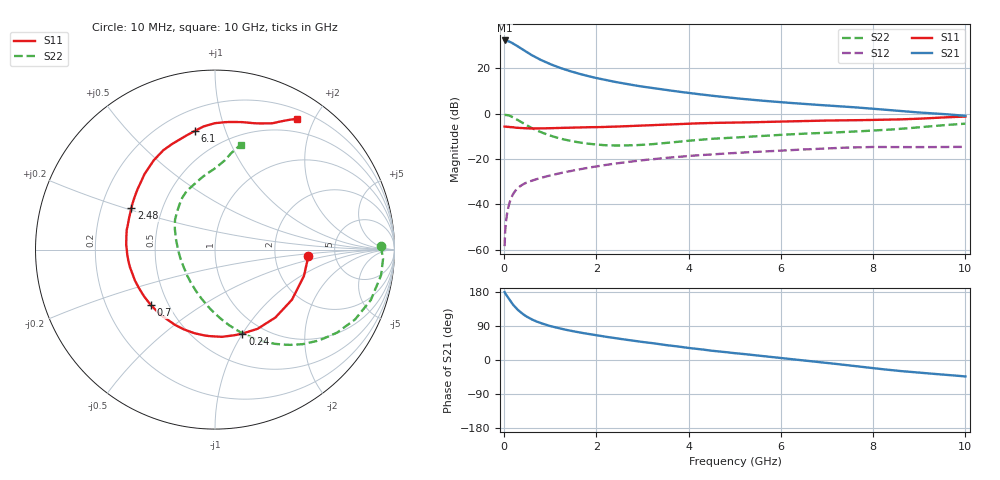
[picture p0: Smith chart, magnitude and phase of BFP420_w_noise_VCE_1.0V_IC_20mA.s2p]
! Infineon Technologies  Discrete & RF Semiconductors
! BFP420
! VCE =  1.0 V,  IC =  20 mA
! Common Emitter S-Parameters:  Jan 2016
# GHz  S  MA  R  50
!  f  S11  S21  S12  S22
! GHz  MAG  ANG  MAG  ANG  MAG  ANG  MAG  ANG
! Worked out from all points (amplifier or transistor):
!   233 points, 10 MHz to 10 GHz, reference 50 ohm
!   highest |S21| = 32.2 dB at 10 MHz (marker M1)
!   |S21| within 3 dB of that: start of sweep to 325 MHz
!   unconditionally stable (mu >= 1): start of sweep to 10.43 MHz; 1.716 GHz to end of sweep
!   at 200 MHz: K = 0.24, MSG = 33.1 dB, |S12| = -35.2 dB
!   at 1.74 GHz: K = 1.01, MAG = 20.1 dB, |S12| = -24.2 dB
!   at 10 GHz: K = 1.06, MAG = 5.3 dB, |S12| = -14.7 dB
!   lowest NFmin = 1.23 dB at 900 MHz
!   S11 on the Smith chart (normalised r, x): 10 MHz: 3.12, -0.29; 240 MHz: 0.81, -1.00; 700 MHz: 0.40, -0.32; 2.48 GHz: 0.33, +0.21; 6.1 GHz: 0.33, +0.79; 10 GHz: 0.31, +1.77
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0.01  0.5185 -3.8  40.97 179.4  0.0012 97.0  0.9238 1.2
0.02  0.5183 -7.0  40.24 176.5  0.0023 89.9  0.9378 -3.1
0.05  0.5168 -16.6  40.05 170.7  0.0051 85.5  0.9364 -8.7
0.1  0.5116 -33.1  39.08 161.5  0.0095 78.3  0.9127 -17.9
0.145  0.5053 -46.8  37.32 153.7  0.0132 73.1  0.8752 -25.6
0.2  0.5011 -61.8  34.93 145.0  0.0173 67.8  0.8227 -34.2
0.24  0.492 -71.9  32.89 139.5  0.0198 64.5  0.7801 -39.6
0.3  0.4875 -85.4  30.15 131.9  0.023 60.7  0.7183 -47.2
0.34  0.483 -93.3  28.34 127.7  0.0248 58.6  0.6781 -51.5
0.45  0.4771 -111.3  23.99 117.5  0.029 54.4  0.582 -61.8
0.6  0.4729 -129.5  19.41 107.1  0.0334 51.4  0.4812 -73.0
0.7  0.4728 -138.9  17.07 101.7  0.036 50.5  0.4305 -79.2
0.9  0.4749 -153.2  13.62 93.1  0.0409 49.6  0.3559 -90.1
1.1  0.48 -164.0  11.23 86.4  0.0458 49.3  0.3051 -99.9
1.68  0.4972 174.3  7.315 71.8  0.0605 47.8  0.2276 -126.3
2.48  0.5204 153.4  4.847 56.4  0.0811 43.1  0.1981 -160.1
3.4  0.5687 134.8  3.438 41.3  0.1032 35.5  0.2208 167.4
5.1  0.6377 110.7  2.143 16.9  0.1375 20.2  0.3011 134.2
6.1  0.6717 99.4  1.755 4.2  0.1552 11.5  0.3454 120.9
6.8  0.6974 92.2  1.56 -5.0  0.1677 4.7  0.3713 111.7
8.4  0.7374 72.7  1.185 -26.8  0.1834 -13.1  0.4473 91.0
10  0.8612 57.8  0.894 -43.4  0.1851 -25.1  0.6011 76.2
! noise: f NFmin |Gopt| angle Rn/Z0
0.9  1.23  0.16  -154  0.13
1.8  1.51  0.24  -144  0.13
2.4  1.66  0.22  -141  0.15
3  1.69  0.3  -132  0.16
4  1.82  0.42  -115  0.23
5  2.28  0.48  -96  0.37
6  2.65  0.52  -86  0.56
